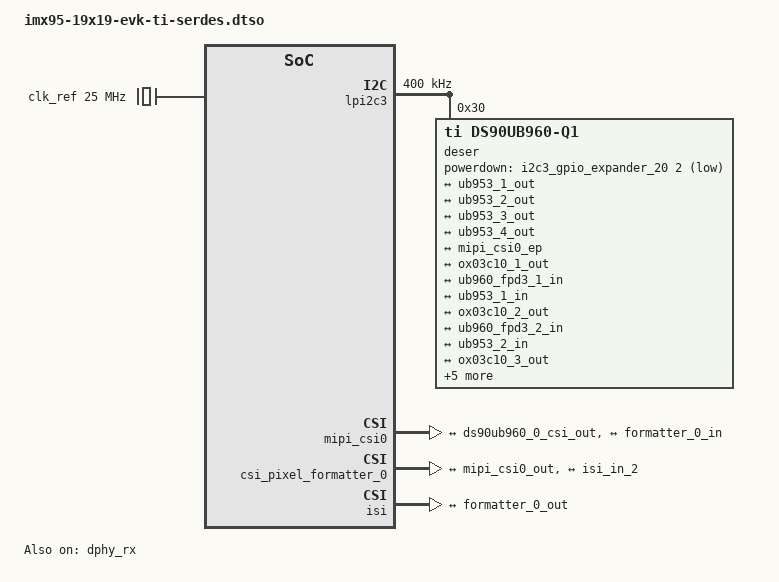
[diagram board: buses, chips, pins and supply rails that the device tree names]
// SPDX-License-Identifier: (GPL-2.0+ OR MIT)
/*
 * Copyright 2024 NXP
 */

/dts-v1/;
/plugin/;

#include <dt-bindings/clock/fsl,imx95-clock.h>
#include <dt-bindings/gpio/gpio.h>

&{/} {
	clk_ref: clock-ref {
		compatible = "fixed-clock";
		#clock-cells = <0>;
		clock-frequency = <25000000>;
		clock-output-names = "clk_ref";
	};
};

&lpi2c3 {
	#address-cells = <1>;
	#size-cells = <0>;
	clock-frequency = <400000>;

	deser@30 {
		compatible = "ti,ds90ub960-q1";
		reg = <0x30>;
		clocks = <&clk_ref>;
		clock-names = "refclk";
		powerdown-gpios = <&i2c3_gpio_expander_20 2 GPIO_ACTIVE_LOW>;
		i2c-alias-pool = <0x48 0x49 0x4a 0x4b>;

		ports {
			#address-cells = <1>;
			#size-cells = <0>;

			port@0 {
				reg = <0>;

				ub960_fpd3_1_in: endpoint {
					remote-endpoint = <&ub953_1_out>;
				};
			};

			port@1 {
				reg = <1>;

				ub960_fpd3_2_in: endpoint {
					remote-endpoint = <&ub953_2_out>;
				};
			};

			port@2 {
				reg = <2>;

				ub960_fpd3_3_in: endpoint {
					remote-endpoint = <&ub953_3_out>;
				};
			};

			port@3 {
				reg = <3>;

				ub960_fpd3_4_in: endpoint {
					remote-endpoint = <&ub953_4_out>;
				};
			};

			port@4 {
				reg = <4>;

				ds90ub960_0_csi_out: endpoint {
					remote-endpoint = <&mipi_csi0_ep>;
					data-lanes = <1 2 3 4>;
					link-frequencies = /bits/ 64 <800000000>;
				};
			};

			/* Port 5, unconnected */
			port@5 {
				reg = <5>;
			};
		};

		links {
			#address-cells = <1>;
			#size-cells = <0>;

			/* Link 0 has DS90UB953 serializer and OX03C10 sensor */

			link@0 {
				reg = <0>;
				i2c-alias = <0x44>;

				ti,rx-mode = <3>;
				ti,bc-gpio = <0>;

				serializer1: serializer {
					compatible = "ti,ds90ub953-q1";

					gpio-controller;
					#gpio-cells = <2>;

					#clock-cells = <0>;

					ports {
						#address-cells = <1>;
						#size-cells = <0>;

						port@0 {
							reg = <0>;

							ub953_1_in: endpoint {
								data-lanes = <1 2 3 4>;
								remote-endpoint = <&ox03c10_1_out>;
							};
						};

						port@1 {
							reg = <1>;

							ub953_1_out: endpoint {
								remote-endpoint = <&ub960_fpd3_1_in>;
							};
						};
					};

					i2c {
						#address-cells = <1>;
						#size-cells = <0>;

						sensor@36 {
							compatible = "ovti,ox03c10";
							reg = <0x36>;

							clocks = <&serializer1>;
							fsin-gpios = <&serializer1 0 GPIO_ACTIVE_HIGH>;

							port {
								ox03c10_1_out: endpoint {
									remote-endpoint = <&ub953_1_in>;
								};
							};
						};
					};
				};
			};

			/* Link 1 has DS90UB953 serializer and OX03C10 sensor */

			link@1 {
				reg = <1>;
				i2c-alias = <0x45>;

				ti,rx-mode = <3>;
				ti,bc-gpio = <0>;

				serializer2: serializer {
					compatible = "ti,ds90ub953-q1";

					gpio-controller;
					#gpio-cells = <2>;

					#clock-cells = <0>;

					ports {
						#address-cells = <1>;
						#size-cells = <0>;

						port@0 {
							reg = <0>;

							ub953_2_in: endpoint {
								data-lanes = <1 2 3 4>;
								remote-endpoint = <&ox03c10_2_out>;
							};
						};

						port@1 {
							reg = <1>;

							ub953_2_out: endpoint {
								remote-endpoint = <&ub960_fpd3_2_in>;
							};
						};
					};

					i2c {
						#address-cells = <1>;
						#size-cells = <0>;

						sensor@36 {
							compatible = "ovti,ox03c10";
							reg = <0x36>;

							clocks = <&serializer2>;
							fsin-gpios = <&serializer2 0 GPIO_ACTIVE_HIGH>;

							port {
								ox03c10_2_out: endpoint {
									remote-endpoint = <&ub953_2_in>;
								};
							};
						};
					};
				};
			};

			/* Link 2 has DS90UB953 serializer and OX03C10 sensor */

			link@2 {
				reg = <2>;
				i2c-alias = <0x46>;

				ti,rx-mode = <3>;
				ti,bc-gpio = <0>;

				serializer3: serializer {
					compatible = "ti,ds90ub953-q1";

					gpio-controller;
					#gpio-cells = <2>;

					#clock-cells = <0>;

					ports {
						#address-cells = <1>;
						#size-cells = <0>;

						port@0 {
							reg = <0>;

							ub953_3_in: endpoint {
								data-lanes = <1 2 3 4>;
								remote-endpoint = <&ox03c10_3_out>;
							};
						};

						port@1 {
							reg = <1>;

							ub953_3_out: endpoint {
								remote-endpoint = <&ub960_fpd3_3_in>;
							};
						};
					};

					i2c {
						#address-cells = <1>;
						#size-cells = <0>;

						sensor@36 {
							compatible = "ovti,ox03c10";
							reg = <0x36>;

							clocks = <&serializer3>;
							fsin-gpios = <&serializer3 0 GPIO_ACTIVE_HIGH>;

							port {
								ox03c10_3_out: endpoint {
									remote-endpoint = <&ub953_3_in>;
								};
							};
						};
					};
				};
			};

			/* Link 3 has DS90UB953 serializer and OX03C10 sensor */

			link@3 {
				reg = <3>;
				i2c-alias = <0x47>;

				ti,rx-mode = <3>;
				ti,bc-gpio = <0>;

				serializer4: serializer {
					compatible = "ti,ds90ub953-q1";

					gpio-controller;
					#gpio-cells = <2>;

					#clock-cells = <0>;

					ports {
						#address-cells = <1>;
						#size-cells = <0>;

						port@0 {
							reg = <0>;

							ub953_4_in: endpoint {
								data-lanes = <1 2 3 4>;
								remote-endpoint = <&ox03c10_4_out>;
							};
						};

						port@1 {
							reg = <1>;

							ub953_4_out: endpoint {
								remote-endpoint = <&ub960_fpd3_4_in>;
							};
						};
					};

					i2c {
						#address-cells = <1>;
						#size-cells = <0>;

						sensor@36 {
							compatible = "ovti,ox03c10";
							reg = <0x36>;

							clocks = <&serializer4>;
							fsin-gpios = <&serializer4 0 GPIO_ACTIVE_HIGH>;

							port {
								ox03c10_4_out: endpoint {
									remote-endpoint = <&ub953_4_in>;
								};
							};
						};
					};
				};
			};
		};
	};
};

&dphy_rx {
	status = "okay";
};

&mipi_csi0 {
	status = "okay";

	ports {
		#address-cells = <1>;
		#size-cells = <0>;

		port@0 {
			reg = <0>;
			mipi_csi0_ep: endpoint {
				remote-endpoint = <&ds90ub960_0_csi_out>;
				data-lanes = <1 2 3 4>;
				clock-lanes = <0>;
			};
		};

		port@1 {
			reg = <1>;
				mipi_csi0_out: endpoint {
				remote-endpoint = <&formatter_0_in>;
			};
		};
	};
};

&csi_pixel_formatter_0 {
	status = "okay";

	ports {
		#address-cells = <1>;
		#size-cells = <0>;

		port@0 {
			reg = <0>;

			formatter_0_in: endpoint {
				remote-endpoint = <&mipi_csi0_out>;
			};
		};

		port@1 {
			reg = <1>;

			formatter_0_out: endpoint {
				remote-endpoint = <&isi_in_2>;
			};
		};
	};
};

&isi {
	status = "okay";

	ports {
		#address-cells = <1>;
		#size-cells = <0>;

		port@2 {
			reg = <2>;

			isi_in_2: endpoint {
				remote-endpoint = <&formatter_0_out>;
			};
		};
	};
};
